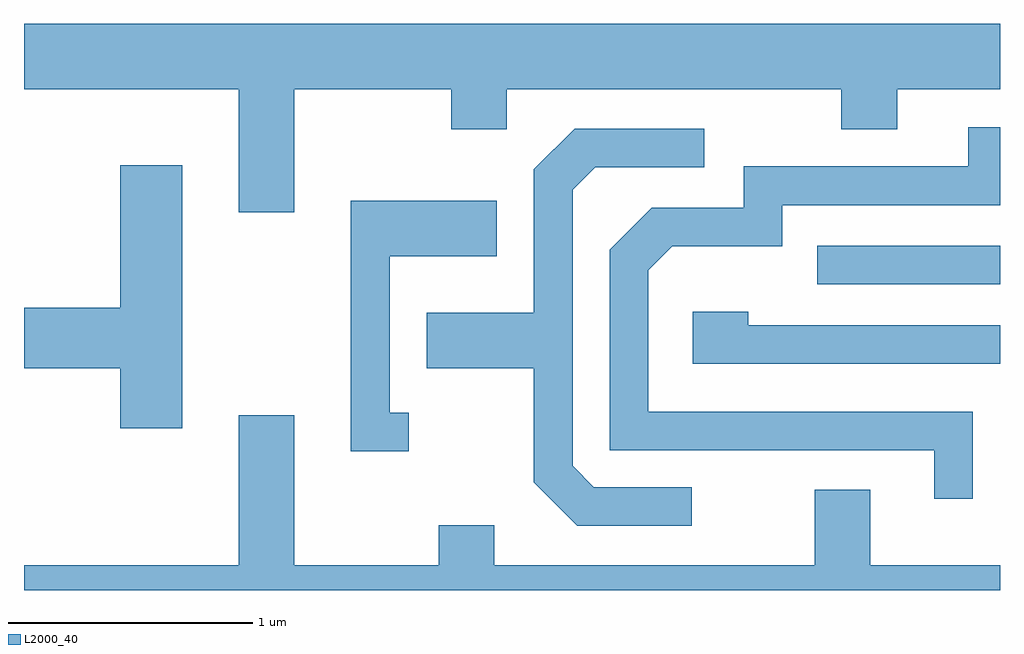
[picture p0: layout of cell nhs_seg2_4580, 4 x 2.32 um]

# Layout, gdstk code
import gdstk
lib = gdstk.Library(unit=1e-6, precision=1e-09)
def R(c, l, rs):  # rectangles x0, y0, x1, y1
    for r in rs: c.add(gdstk.rectangle(r[:2], r[2:], *l))
def P(c, l, *ps):  # polygons
    for p in ps: c.add(gdstk.Polygon(p, *l))
L2000_40 = (2000, 40)

nhs_seg2_4580 = lib.new_cell('nhs_seg2_4580')
R(nhs_seg2_4580, L2000_40, [(322.863,1063.056,323.611,1063.214)])
P(nhs_seg2_4580, L2000_40, [(320.719,1063.856),(321.361,1063.856),(321.361,1063.691),(321.589,1063.691),(321.589,1063.856),(322.961,1063.856),(322.961,1063.691),(323.189,1063.691),(323.189,1063.856),(323.611,1063.856),(323.611,1064.124),(319.611,1064.124),(319.611,1063.856),(320.491,1063.856),(320.491,1063.351),(320.719,1063.351)],
  [(323.499,1062.534),(322.169,1062.534),(322.169,1063.114),(322.267,1063.211),(322.719,1063.211),(322.719,1063.381),(323.611,1063.381),(323.611,1063.699),(323.481,1063.699),(323.481,1063.539),(322.561,1063.539),(322.561,1063.369),(322.184,1063.369),(322.011,1063.197),(322.011,1062.376),(323.341,1062.376),(323.341,1062.178),(323.499,1062.178)],
  [(322.348,1062.224),(321.947,1062.224),(321.859,1062.312),(321.859,1063.444),(321.952,1063.536),(322.398,1063.536),(322.398,1063.694),(321.869,1063.694),(321.701,1063.527),(321.701,1062.939),(321.261,1062.939),(321.261,1062.711),(321.701,1062.711),(321.701,1062.244),(321.879,1062.066),(322.348,1062.066)],
  [(320.259,1063.544),(320.006,1063.544),(320.006,1062.959),(319.611,1062.959),(319.611,1062.711),(320.006,1062.711),(320.006,1062.466),(320.259,1062.466)],
  [(321.188,1062.529),(321.109,1062.529),(321.109,1063.171),(321.549,1063.171),(321.549,1063.399),(320.951,1063.399),(320.951,1062.371),(321.188,1062.371)],
  [(323.611,1062.889),(322.579,1062.889),(322.579,1062.944),(322.351,1062.944),(322.351,1062.731),(323.611,1062.731)],
  [(323.611,1061.904),(323.079,1061.904),(323.079,1062.214),(322.851,1062.214),(322.851,1061.904),(321.539,1061.904),(321.539,1062.069),(321.311,1062.069),(321.311,1061.904),(320.719,1061.904),(320.719,1062.519),(320.491,1062.519),(320.491,1061.904),(319.611,1061.904),(319.611,1061.802),(323.611,1061.802)])

lib.write_gds('nhs_seg2_4580.gds')
